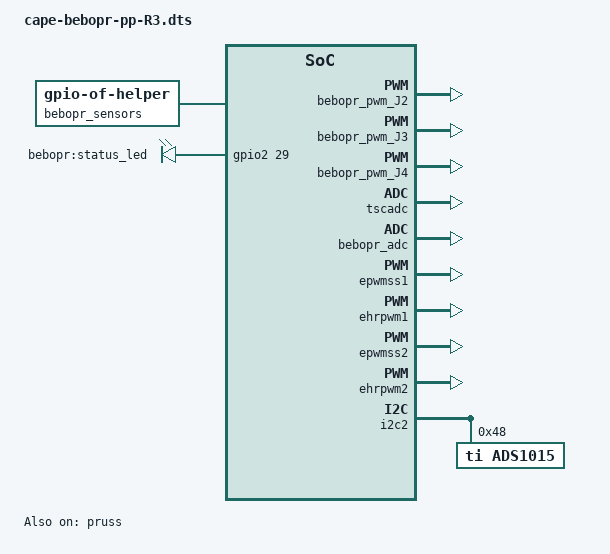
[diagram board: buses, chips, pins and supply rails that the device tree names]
/*
 * Copyright (C) 2013,2014 Bas Laarhoven
 *
 * This program is free software; you can redistribute it and/or modify
 * it under the terms of the GNU General Public License version 2 as
 * published by the Free Software Foundation.
 *
 * version 1.1 - 2013-08-08 initial version from 2191-R2.dts
 * version 1.2 - 2013-08-11 version for BeBoPr with Bridge using alternate
 *               signals freeing signals used for HDMI and eMMC on BBB.
 * version 1.3 - 2014-07-05 created BeBoPr++ version from cape-bebopr-brdg-R2.dts.
 *               Added signal naming for 5 axes (external stepper drivers).
 *               Added J5.16 signal for DECAMUX and enabled ADS1015.
 */
/dts-v1/;
/plugin/;

/ {
	compatible = "aes,bebopr", "ti,beaglebone", "ti,beaglebone-black";

	/* identification */
	part-number = "cape-bebopr-pp";
	version = "R3";

 	exclusive-use =
	/* state the resources this cape uses */

	/* ------ IO POWER ------ */

		"P8.7",		/* gpio2.2 timer4      gpio66    Enablen */

	/* ------ PWM ------ */

		"P8.13",	/* gpio0.23  EHRPWM2B   J2_PWM0  */
		"P8.19",	/* gpio0.22  EHRPWM2A   J3_PWM1  */
		"P9.14",	/* gpio1.18  EHRPWM1A   J4_PWM2  */
		"ehrpwm1A",
		"ehrpwm2A",
		"ehrpwm2B",

	/* ------ STEPPERS ------ */

		"P8.12",	/* gpio1.12  X_STP */
		"P8.11",	/* gpio1.13  X_DIR */
		"P9.18",	/* gpio0.4   B_STP or #X_ENA */
		"P8.16",	/* gpio1.14  Y_STP */
		"P8.15",	/* gpio1.15  Y_DIR */
		"P9.17",	/* gpio0.5   B_DIR or #Y_ENA */
		"P9.15",	/* gpio1.16  Z_STP */
		"P9.23",	/* gpio1.17  Z_DIR */	
		"P9.26",	/* gpio0.14  #ENA1 or #X_ENA */
		"P9.22",	/* gpio0.2   A_STP or E_STP */
		"P9.21",	/* gpio0.3   A_DIR or E_DIR */
		"P9.24",	/* gpio0.15  #ENA2 or #E_ENA */
                "P9.12",        /* gpio1.28  DECA_CLK */
		"pru1",
		"pruss",

	/* ------ SENSORS ------ */

		"P8.8",		/* gpio2.3    #X_MIN */
		"P8.9",		/* gpio2.5    #X_MAX */
		"P8.10",	/* gpio2.4    #Y_MIN */
		"P8.14",	/* gpio0.26   #Y_MAX */
		"P8.17",	/* gpio0.27   #Z_MIN */
		"P8.18",	/* gpio2.1    #Z_MAX */

	/* ------ ADC ------ */

		"P9.33",	/* AIN4 */
		"P9.36",	/* AIN5 */
		"P9.35",	/* AIN6 */
		"tscadc",

	/* ------ LED ------ */

                "P8.26";        /* gpio1.29       LED     */


	/* ----------- IO ENABLE ------------ */

	fragment@0 {
		target = <&am33xx_pinmux>;
		__overlay__ {

			bebopr_io_enable_pins: pinmux_bebopr_io_enable_pins {
				pinctrl-single,pins = <
					0x090 0x07  /*  P8-7 TIMER4     gpmc_advn_ale.gpio2[2] */
				>;
			};
		};
	};

	fragment@1 {
		target = <&ocp>;
		__overlay__ {

			bebopr_io_enables {
				compatible = "gpio-of-helper";
				status = "okay";
				pinctrl-names = "default";
				pinctrl-0 = <&bebopr_io_enable_pins>;

				io_enable_n {
					gpio-name = "bebopr:io_enable_n";
					gpio = <&gpio3 2 0>;
					output;
					init-high;
				};
			};
		};
	};

	/* ----------- PWM ------------ */

	fragment@11 {
		target = <&epwmss1>;
		__overlay__ {
			status = "okay";
		};
	};

	fragment@12 {
		target = <&ehrpwm1>;
		__overlay__ {
			status = "okay";
		};
	};

	fragment@13 {
		target = <&epwmss2>;
		__overlay__ {
			status = "okay";
		};
	};

	fragment@14 {
		target = <&ehrpwm2>;
		__overlay__ {
			status = "okay";
		};
	};

	fragment@15 {
		target = <&am33xx_pinmux>;
		__overlay__ {

		// J2_PWM0
			P8_13_ehrpwm_pin: pinmux_P8_13_ehrpwm_pin {
				pinctrl-single,pins = <0x024  0x4>; /* P8_13 (ZCZ ball T10) | MODE 4 */
			};

			P8_13_gpio_pin: pinmux_P8_13_gpio_pin {
				pinctrl-single,pins = <0x024  0x7>; /* P8_13 (ZCZ ball T10) | MODE 7 */
			};

		// J3_PWM1
			P8_19_ehrpwm_pin: pinmux_P8_19_ehrpwm_pin {
				pinctrl-single,pins = <0x020  0x4>; /* P8_19 (ZCZ ball U10) | MODE 4 */
			};

			P8_19_gpio_pin: pinmux_P8_19_gpio_pin {
				pinctrl-single,pins = <0x020  0x7>; /* P8_19 (ZCZ ball U10) | MODE 7 */
			};

		// J4_PWM2
			P9_14_ehrpwm_pin: pinmux_P9_14_ehrpwm_pin {
				pinctrl-single,pins = <0x048  0x6>; /* P9_14 (ZCZ ball U14) | MODE 6 */
			};

			P9_14_gpio_pin: pinmux_P9_14_gpio_pin {
				pinctrl-single,pins = <0x048  0x7>; /* P9_14 (ZCZ ball U14) | MODE 7 */
			};
		};
	};

	fragment@16 {
		target = <&ocp>;
		__overlay__ {

			bebopr_pwm_J2_pinmux {
				compatible = "bone-pinmux-helper";
				status = "okay";

				pinctrl-names = "default", "gpio";
				pinctrl-0 = <&P8_13_ehrpwm_pin>;
				pinctrl-1 = <&P8_13_gpio_pin>;
			};

			bebopr_pwm_J3_pinmux {
				compatible = "bone-pinmux-helper";
				status = "okay";

				pinctrl-names = "default", "gpio";
				pinctrl-0 = <&P8_19_ehrpwm_pin>;
				pinctrl-1 = <&P8_19_gpio_pin>;
			};

			bebopr_pwm_J4_pinmux {
				compatible = "bone-pinmux-helper";
				status = "okay";

				pinctrl-names = "default", "gpio";
				pinctrl-0 = <&P9_14_ehrpwm_pin>;
				pinctrl-1 = <&P9_14_gpio_pin>;
			};

			bebopr_pwm_J2 {
				compatible	= "pwm_test";
				pwms		= <&ehrpwm2 1 10000000 0>;
				pwm-names	= "PWM0_J2_FAN";
				enabled		= <0>;
				duty		= <0>;
				status		= "okay";
			};

			bebopr_pwm_J3 {
				compatible	= "pwm_test";
				pwms		= <&ehrpwm2 0 10000000 0>;
				pwm-names	= "PWM1_J3_EXTR";
				enabled		= <0>;
				duty		= <0>;
				status		= "okay";
			};

			bebopr_pwm_J4 {
				compatible	= "pwm_test";
				pwms		= <&ehrpwm1 0 100000000 0>;
				pwm-names	= "PWM2_J4_BED";
				enabled		= <0>;
				duty		= <0>;
				status		= "okay";
			};
		};
	};

	/* ----------- STEPPERS ------------ */

	fragment@21 {
		target = <&am33xx_pinmux>;
		__overlay__ {

			bebopr_stepper_pins: pinmux_bebopr_stepper_pins {
				status = "okay";
				pinctrl-single,pins = <
					/* stepper outputs */
					0x030 0x07	/* #X_STP, P8_12, gpio1.12, mode7 out */
					0x034 0x07	/* #X_DIR, P8_11, gpio1.13, mode7 out */
					0x038 0x07	/* #Y_STP, P8_16, gpio1.14, mode7 out */
					0x03c 0x07	/* #Y_DIR, P8_15, gpio1.15, mode7 out */
					0x040 0x07	/* #Z_STP, P9_15, gpio1.16, mode7 out */
					0x044 0x07	/* #Z_DIR, P9_23, gpio1.17, mode7 out */

					0x150 0x07	/* #A_STP, P9_22, gpio0.2,  mode7 out */
					0x154 0x07	/* #A_DIR, P9_21, gpio0.3,  mode7 out */
					0x158 0x07	/* #B_STP, P9_18, gpio0.4,  mode7 out */
					0x15c 0x07	/* #B_DIR, P9_17, gpio0.5,  mode7 out */

					0x180 0x07	/* #Z_ENA, P9_26, gpio0.14, mode7 out */
					0x184 0x07	/* #E_ENA, P9_24, gpio0.15, mode7 out */

					0x078 0x07	/* DECA_CLK P9_12, gpio1.28, mode7 out */
				>;
			};
		};	
	};

	fragment@22 {
		target = <&ocp>;
		__overlay__ {

			bebopr_steppers {
				compatible = "gpio-of-helper";
				status = "okay";
				pinctrl-names = "default";
				pinctrl-0 = <&bebopr_stepper_pins>;

				x_stp {
					gpio-name = "bebopr:x_stp";
					gpio = <&gpio2 12 0>;
					output;
					init-low;
				};
				x_dir {
					gpio-name = "bebopr:x_dir";
					gpio = <&gpio2 13 0>;
					output;
					init-low;
				};
				x_ena {
					gpio-name = "bebopr:x_ena";
					gpio = <&gpio1 4 0>;
					output;
					init-high;
				};

				y_stp {
					gpio-name = "bebopr:y_stp";
					gpio = <&gpio2 14 0>;
					output;
					init-low;
				};
				y_dir {
					gpio-name = "bebopr:y_dir";
					gpio = <&gpio2 15 0>;
					output;
					init-low;
				};
				y_ena {
					gpio-name = "bebopr:y_ena";
					gpio = <&gpio1 5 0>;
					output;
					init-high;
				};

				z_stp {
					gpio-name = "bebopr:z_stp";
					gpio = <&gpio2 16 0>;
					output;
					init-low;
				};
				z_dir {
					gpio-name = "bebopr:z_dir";
					gpio = <&gpio2 17 0>;
					output;
					init-low;
				};
				z_ena {
					gpio-name = "bebopr:z_ena";
					gpio = <&gpio1 14 0>;
					output;
					init-high;
				};

				e_stp {
					gpio-name = "bebopr:e_stp";
					gpio = <&gpio1 2 0>;
					output;
					init-low;
				};
				e_dir {
					gpio-name = "bebopr:e_dir";
					gpio = <&gpio1 3 0>;
					output;
					init-low;
				};
				e_ena {
					gpio-name = "bebopr:e_ena";
					gpio = <&gpio1 15 0>;
					output;
					init-high;
				};
				deca_clk {
					gpio-name = "bebopr:deca_clk";
					gpio = <&gpio2 28 0>;
					output;
					init-high;
				};
			};
		};
	};

	fragment@23 {
		target = <&pruss>;
		__overlay__ {
			status = "okay";
		};
	};

	/* ----------- SENSORS ------------ */

	fragment@31 {
		target = <&am33xx_pinmux>;
		__overlay__ {

			bebopr_sensor_pins: pinmux_bebopr_sensor_pins {
				status = "okay";
				pinctrl-single,pins = <
					/* sensor inputs with pull-downs */
					0x94 0x2f	/* #X_MIN, P8_8,  gpio2.3, mode7 in */
					0x9c 0x2f	/* #X_MAX, P8_9,  gpio2.5, mode7 in */
					0x98 0x2f	/* #Y_MIN, P8_10, gpio2.4, mode7 in */
					0x28 0x2f	/* #Y_MAX, P8_14, gpio0.26, mode7 in */
					0x2c 0x2f	/* #Z_MIN, P8_17, gpio0.27, mode7 in */
					0x8c 0x2f	/* #Z_MAX, P8_18, gpio2.1,  mode7 in */
				>;
			};
		};	
	};

	fragment@33 {
		target = <&ocp>;
		__overlay__ {

			bebopr_sensors {
				compatible = "gpio-of-helper";
				status = "okay";
				pinctrl-names = "default";
				pinctrl-0 = <&bebopr_sensor_pins>;

				x_min {
					gpio-name = "bebopr:x_min";
					gpio = <&gpio3 3 0>;
					input;
				};
				x_max {
					gpio-name = "bebopr:x_max";
					gpio = <&gpio3 5 0>;
					input;
				};
				y_min {
					gpio-name = "bebopr:y_min";
					gpio = <&gpio3 4 0>;
					input;
				};
				y_max {
					gpio-name = "bebopr:y_max";
					gpio = <&gpio1 26 0>;
					input;
				};
				z_min {
					gpio-name = "bebopr:z_min";
					gpio = <&gpio1 27 0>;
					input;
				};
				z_max {
					gpio-name = "bebopr:z_max";
					gpio = <&gpio3 1 0>;
					input;
				};
			};
		};
	};

	/* ----------- ADC ------------ */

        /* no pinmux needed */

	fragment@41 {
		target = <&ocp>;
		__overlay__ {

			#address-cells = <1>;
			#size-cells = <1>;

			tscadc {
				compatible = "ti,ti-tscadc";
				status = "okay";

				reg = <0x44e0d000 0x1000>;
				interrupt-parent = <&intc>;
				interrupts = <16>;
				ti,hwmods = "adc_tsc";
				adc {
					ti,adc-channels = <0 1 2 3 4 5 6 7>;
				};
			};

			bebopr_adc {
				compatible = "bone-iio-helper";
				status = "okay";
				/* scale to raw bit value */
				vsense-name  = "AIN0", "AIN1", "AIN2", "AIN3", "AIN4", "AIN5", "AIN7";
				vsense-scale = < 228     228     228     228     228     228     228>;
			};

		};
	};


	/* ----------- LED ------------ */

	fragment@51 {
		target = <&am33xx_pinmux>;
		__overlay__ {

 			bebopr_led_pins: pinmux_bebopr_led_pins {
				pinctrl-single,pins = <
					0x07c 0x07    /* P8-26 GPIO1_29   gpmc_csn0.gpio1[29]    */
				>;
			};
		};
	};

	fragment@52 {
		target = <&ocp>;
		__overlay__ {

			bebopr_leds {
				compatible = "gpio-leds";
				pinctrl-names = "default";
				pinctrl-0 = <&bebopr_led_pins>;

				status_led {
					label = "bebopr:status_led";
					gpios = <&gpio2 29 0>;
					linux,default-trigger = "heartbeat";
					default-state = "off";
				};
			};
		};
	};

	/* ----------- ADS1015 ------------ */

	fragment@61 {
		target = <&i2c2>;
		__overlay__ {
			// needed to avoid gripping by DTC
			#address-cells = <1>;
			#size-cells = <0>;
			status = "okay";	// probably already set

			ads1015: ads1015@48 {

				compatible = "ti,ads1015";
				status = "okay";

		           	#address-cells = <1>;
				#size-cells = <0>;
				reg = <0x48>;

				hi_res = <1>;

				channel@1 {
			   	     	  reg = <4>;
				     	  ti,gain = <2>;
				     	  ti,datarate = <2>;
			   	};
				channel@2 {
			   	     	  reg = <5>;
				     	  ti,gain = <2>;
				     	  ti,datarate = <2>;
			   	};
				channel@3 {
			   	     	  reg = <6>;
				     	  ti,gain = <2>;
				     	  ti,datarate = <2>;
			   	};
				channel@4 {
			   	     	  reg = <0>;
				     	  ti,gain = <3>;
				     	  ti,datarate = <2>;
			   	};
	        	};
		};

	};

};
